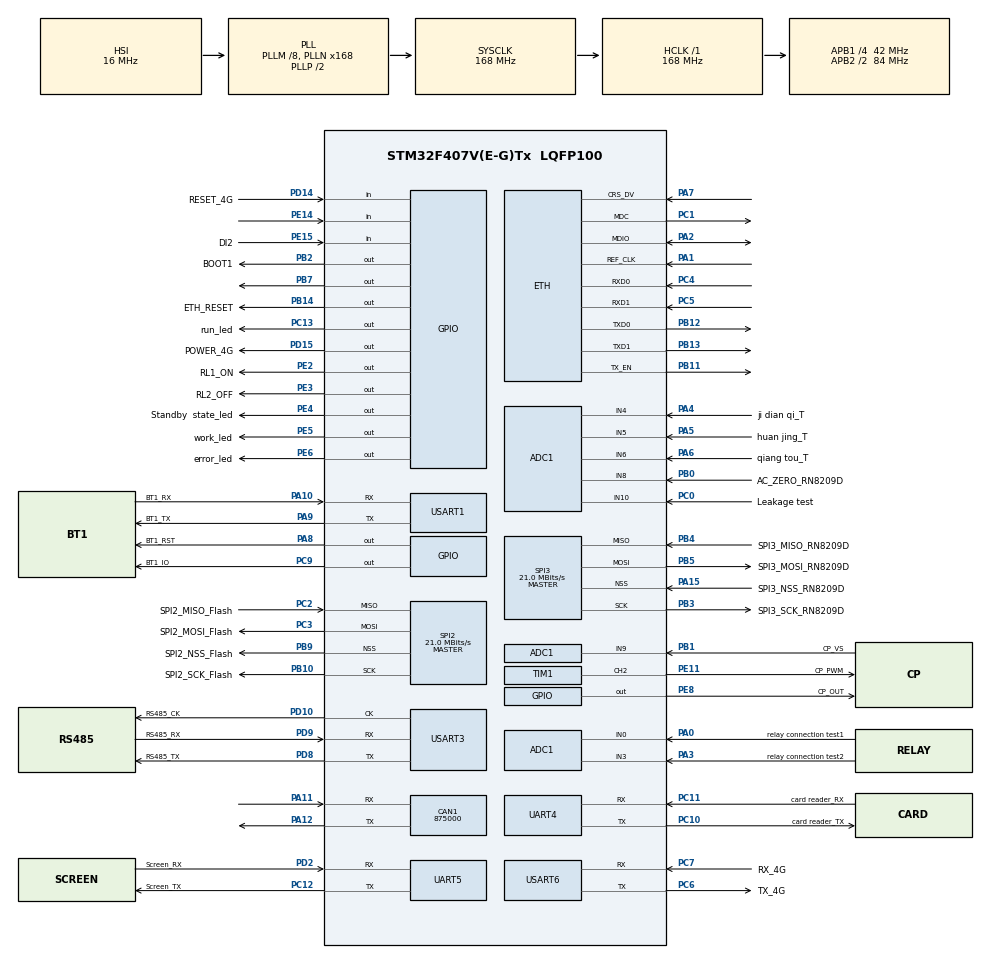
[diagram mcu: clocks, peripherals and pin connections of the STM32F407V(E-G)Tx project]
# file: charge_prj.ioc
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ADC1.Channel-26\#ChannelRegularConversion=ADC_CHANNEL_0
ADC1.Channel-31\#ChannelRegularConversion=ADC_CHANNEL_3
ADC1.Channel-32\#ChannelRegularConversion=ADC_CHANNEL_4
ADC1.Channel-33\#ChannelRegularConversion=ADC_CHANNEL_5
ADC1.Channel-34\#ChannelRegularConversion=ADC_CHANNEL_6
ADC1.Channel-35\#ChannelRegularConversion=ADC_CHANNEL_8
ADC1.Channel-36\#ChannelRegularConversion=ADC_CHANNEL_9
ADC1.Channel-37\#ChannelRegularConversion=ADC_CHANNEL_10
ADC1.ContinuousConvMode=ENABLE
ADC1.InjNumberOfConversion=0
ADC1.NbrOfConversion=8
ADC1.NbrOfConversionFlag=1
ADC1.Rank-26\#ChannelRegularConversion=1
ADC1.Rank-31\#ChannelRegularConversion=2
ADC1.Rank-32\#ChannelRegularConversion=3
ADC1.Rank-33\#ChannelRegularConversion=4
ADC1.Rank-34\#ChannelRegularConversion=5
ADC1.Rank-35\#ChannelRegularConversion=6
ADC1.Rank-36\#ChannelRegularConversion=7
ADC1.Rank-37\#ChannelRegularConversion=8
ADC1.SamplingTime-26\#ChannelRegularConversion=ADC_SAMPLETIME_3CYCLES
ADC1.SamplingTime-31\#ChannelRegularConversion=ADC_SAMPLETIME_3CYCLES
ADC1.SamplingTime-32\#ChannelRegularConversion=ADC_SAMPLETIME_3CYCLES
ADC1.SamplingTime-33\#ChannelRegularConversion=ADC_SAMPLETIME_3CYCLES
ADC1.SamplingTime-34\#ChannelRegularConversion=ADC_SAMPLETIME_3CYCLES
ADC1.SamplingTime-35\#ChannelRegularConversion=ADC_SAMPLETIME_3CYCLES
ADC1.SamplingTime-36\#ChannelRegularConversion=ADC_SAMPLETIME_3CYCLES
ADC1.SamplingTime-37\#ChannelRegularConversion=ADC_SAMPLETIME_3CYCLES
ADC1.ScanConvMode=ENABLE
ADC1.master=1
CAN1.CalculateBaudRate=875000
CAN1.CalculateTimeBit=1142
CAN1.CalculateTimeQuantum=380.95238095238096
Dma.ADC1.6.Direction=DMA_PERIPH_TO_MEMORY
Dma.ADC1.6.FIFOMode=DMA_FIFOMODE_DISABLE
Dma.ADC1.6.Instance=DMA2_Stream0
Dma.ADC1.6.MemDataAlignment=DMA_MDATAALIGN_HALFWORD
Dma.ADC1.6.MemInc=DMA_MINC_ENABLE
Dma.ADC1.6.Mode=DMA_NORMAL
Dma.ADC1.6.PeriphDataAlignment=DMA_PDATAALIGN_HALFWORD
Dma.ADC1.6.PeriphInc=DMA_PINC_DISABLE
Dma.ADC1.6.Priority=DMA_PRIORITY_LOW
Dma.Request0=UART4_TX
Dma.Request1=USART3_RX
Dma.Request2=USART3_TX
Dma.Request3=USART6_RX
Dma.Request4=USART6_TX
Dma.Request5=UART4_RX
Dma.Request6=ADC1
Dma.Request7=SPI3_TX
Dma.SPI3_TX.7.Direction=DMA_MEMORY_TO_PERIPH
Dma.SPI3_TX.7.FIFOMode=DMA_FIFOMODE_DISABLE
Dma.SPI3_TX.7.Instance=DMA1_Stream5
Dma.SPI3_TX.7.MemDataAlignment=DMA_MDATAALIGN_BYTE
Dma.SPI3_TX.7.MemInc=DMA_MINC_ENABLE
Dma.SPI3_TX.7.Mode=DMA_NORMAL
Dma.SPI3_TX.7.PeriphDataAlignment=DMA_PDATAALIGN_BYTE
Dma.SPI3_TX.7.PeriphInc=DMA_PINC_DISABLE
Dma.SPI3_TX.7.Priority=DMA_PRIORITY_LOW
Dma.UART4_RX.5.Direction=DMA_PERIPH_TO_MEMORY
Dma.UART4_RX.5.FIFOMode=DMA_FIFOMODE_DISABLE
Dma.UART4_RX.5.Instance=DMA1_Stream2
Dma.UART4_RX.5.MemDataAlignment=DMA_MDATAALIGN_BYTE
Dma.UART4_RX.5.MemInc=DMA_MINC_ENABLE
Dma.UART4_RX.5.Mode=DMA_NORMAL
Dma.UART4_RX.5.PeriphDataAlignment=DMA_PDATAALIGN_BYTE
Dma.UART4_RX.5.PeriphInc=DMA_PINC_DISABLE
Dma.UART4_RX.5.Priority=DMA_PRIORITY_LOW
Dma.UART4_TX.0.Direction=DMA_MEMORY_TO_PERIPH
Dma.UART4_TX.0.FIFOMode=DMA_FIFOMODE_DISABLE
Dma.UART4_TX.0.Instance=DMA1_Stream4
Dma.UART4_TX.0.MemDataAlignment=DMA_MDATAALIGN_BYTE
Dma.UART4_TX.0.MemInc=DMA_MINC_ENABLE
Dma.UART4_TX.0.Mode=DMA_NORMAL
Dma.UART4_TX.0.PeriphDataAlignment=DMA_PDATAALIGN_BYTE
Dma.UART4_TX.0.PeriphInc=DMA_PINC_DISABLE
Dma.UART4_TX.0.Priority=DMA_PRIORITY_LOW
Dma.USART3_RX.1.Direction=DMA_PERIPH_TO_MEMORY
Dma.USART3_RX.1.FIFOMode=DMA_FIFOMODE_DISABLE
Dma.USART3_RX.1.Instance=DMA1_Stream1
Dma.USART3_RX.1.MemDataAlignment=DMA_MDATAALIGN_BYTE
Dma.USART3_RX.1.MemInc=DMA_MINC_ENABLE
Dma.USART3_RX.1.Mode=DMA_NORMAL
Dma.USART3_RX.1.PeriphDataAlignment=DMA_PDATAALIGN_BYTE
Dma.USART3_RX.1.PeriphInc=DMA_PINC_DISABLE
Dma.USART3_RX.1.Priority=DMA_PRIORITY_LOW
Dma.USART3_TX.2.Direction=DMA_MEMORY_TO_PERIPH
Dma.USART3_TX.2.FIFOMode=DMA_FIFOMODE_DISABLE
Dma.USART3_TX.2.Instance=DMA1_Stream3
Dma.USART3_TX.2.MemDataAlignment=DMA_MDATAALIGN_BYTE
Dma.USART3_TX.2.MemInc=DMA_MINC_ENABLE
Dma.USART3_TX.2.Mode=DMA_NORMAL
Dma.USART3_TX.2.PeriphDataAlignment=DMA_PDATAALIGN_BYTE
Dma.USART3_TX.2.PeriphInc=DMA_PINC_DISABLE
Dma.USART3_TX.2.Priority=DMA_PRIORITY_LOW
Dma.USART6_RX.3.Direction=DMA_PERIPH_TO_MEMORY
Dma.USART6_RX.3.FIFOMode=DMA_FIFOMODE_DISABLE
Dma.USART6_RX.3.Instance=DMA2_Stream1
Dma.USART6_RX.3.MemDataAlignment=DMA_MDATAALIGN_BYTE
Dma.USART6_RX.3.MemInc=DMA_MINC_ENABLE
Dma.USART6_RX.3.Mode=DMA_NORMAL
Dma.USART6_RX.3.PeriphDataAlignment=DMA_PDATAALIGN_BYTE
Dma.USART6_RX.3.PeriphInc=DMA_PINC_DISABLE
Dma.USART6_RX.3.Priority=DMA_PRIORITY_LOW
Dma.USART6_TX.4.Direction=DMA_MEMORY_TO_PERIPH
Dma.USART6_TX.4.FIFOMode=DMA_FIFOMODE_DISABLE
Dma.USART6_TX.4.Instance=DMA2_Stream6
Dma.USART6_TX.4.MemDataAlignment=DMA_MDATAALIGN_BYTE
Dma.USART6_TX.4.MemInc=DMA_MINC_ENABLE
Dma.USART6_TX.4.Mode=DMA_NORMAL
Dma.USART6_TX.4.PeriphDataAlignment=DMA_PDATAALIGN_BYTE
Dma.USART6_TX.4.PeriphInc=DMA_PINC_DISABLE
Dma.USART6_TX.4.Priority=DMA_PRIORITY_LOW
ETH.MediaInterface=HAL_ETH_RMII_MODE
ETH.PHY_Name_RMII=userPHY
FREERTOS.Tasks01=defaultTask,0,128,StartDefaultTask,Default,NULL,Dynamic,NULL,NULL
LWIP.BSP.number=1
LWIP.LWIP_HTTPD=1
LWIP.LWIP_TFTP=1
LWIP.Version=v2.1.2_Cube
LWIP0.BSP.STBoard=false
LWIP0.BSP.api=BSP_COMPONENT_DRIVER
LWIP0.BSP.component=LAN8742
LWIP0.BSP.instance=LAN8742
LWIP0.BSP.name=Driver_PHY
LWIP0.BSP.semaphore=S_LAN8742
LWIP0.BSP.solution=LAN8742
Mcu.Family=STM32F4
Mcu.Name=STM32F407V(E-G)Tx
Mcu.Package=LQFP100
NVIC.ADC_IRQn=true\:5\:0\:false\:false\:true\:true\:true\:true\:true
NVIC.CAN1_RX0_IRQn=true\:5\:0\:false\:false\:true\:true\:true\:true\:true
NVIC.CAN1_RX1_IRQn=true\:5\:0\:false\:false\:true\:true\:true\:true\:true
NVIC.CAN1_SCE_IRQn=true\:5\:0\:false\:false\:true\:true\:true\:true\:true
NVIC.CAN1_TX_IRQn=true\:5\:0\:false\:false\:true\:true\:true\:true\:true
NVIC.DMA1_Stream1_IRQn=true\:5\:0\:false\:false\:true\:true\:false\:true\:true
NVIC.DMA1_Stream2_IRQn=true\:5\:0\:false\:false\:true\:true\:false\:true\:true
NVIC.DMA1_Stream3_IRQn=true\:5\:0\:false\:false\:true\:true\:false\:true\:true
NVIC.DMA1_Stream4_IRQn=true\:5\:0\:false\:false\:true\:true\:false\:true\:true
NVIC.DMA1_Stream5_IRQn=true\:5\:0\:false\:false\:true\:true\:false\:true\:true
NVIC.DMA2_Stream0_IRQn=true\:5\:0\:false\:false\:true\:true\:false\:true\:true
NVIC.DMA2_Stream1_IRQn=true\:5\:0\:false\:false\:true\:true\:false\:true\:true
NVIC.DMA2_Stream6_IRQn=true\:5\:0\:false\:false\:true\:true\:false\:true\:true
NVIC.ETH_IRQn=true\:5\:0\:false\:false\:true\:true\:true\:true\:true
NVIC.ETH_WKUP_IRQn=true\:5\:0\:false\:false\:true\:true\:true\:true\:true
NVIC.PriorityGroup=NVIC_PRIORITYGROUP_4
NVIC.TIM1_CC_IRQn=true\:5\:0\:false\:false\:true\:true\:true\:true\:true
NVIC.TIM2_IRQn=true\:15\:0\:false\:false\:true\:false\:false\:true\:true
NVIC.TimeBase=TIM2_IRQn
NVIC.TimeBaseIP=TIM2
NVIC.WWDG_IRQn=true\:5\:0\:false\:false\:true\:true\:true\:true\:true
PA0-WKUP.GPIO_Label=relay connection test1
PA0-WKUP.Signal=ADCx_IN0
PA1.Mode=RMII
PA1.Signal=ETH_REF_CLK
PA10.GPIO_Label=BT1_RX
PA10.Mode=Asynchronous
PA10.Signal=USART1_RX
PA11.Mode=CAN_Activate
PA11.Signal=CAN1_RX
PA12.Mode=CAN_Activate
PA12.Signal=CAN1_TX
PA13.Mode=Serial_Wire
PA13.Signal=SYS_JTMS-SWDIO
PA14.Mode=Serial_Wire
PA14.Signal=SYS_JTCK-SWCLK
PA15.GPIO_Label=SPI3_NSS_RN8209D
PA15.Mode=NSS_Signal_Hard_Input
PA15.Signal=SPI3_NSS
PA2.Mode=RMII
PA2.Signal=ETH_MDIO
PA3.GPIO_Label=relay connection test2
PA3.Signal=ADCx_IN3
PA4.GPIO_Label=ji dian qi_T
PA4.Signal=ADCx_IN4
PA5.GPIO_Label=huan jing_T
PA5.Signal=ADCx_IN5
PA6.GPIO_Label=qiang tou_T
PA6.Signal=ADCx_IN6
PA7.Mode=RMII
PA7.Signal=ETH_CRS_DV
PA8.GPIO_Label=BT1_RST
PA8.Signal=GPIO_Output
PA9.GPIO_Label=BT1_TX
PA9.Mode=Asynchronous
PA9.Signal=USART1_TX
PB0.GPIO_Label=AC_ZERO_RN8209D
PB0.Signal=ADCx_IN8
PB1.GPIO_Label=CP_VS
PB1.Signal=ADCx_IN9
PB10.GPIO_Label=SPI2_SCK_Flash
PB10.Mode=Full_Duplex_Master
PB10.Signal=SPI2_SCK
PB11.Mode=RMII
PB11.Signal=ETH_TX_EN
PB12.Mode=RMII
PB12.Signal=ETH_TXD0
PB13.Mode=RMII
PB13.Signal=ETH_TXD1
PB14.GPIO_Label=ETH_RESET
PB14.Signal=GPIO_Output
PB2.GPIO_Label=BOOT1
PB2.Signal=GPIO_Output
PB3.GPIO_Label=SPI3_SCK_RN8209D
PB3.Mode=Full_Duplex_Master
PB3.Signal=SPI3_SCK
PB4.GPIO_Label=SPI3_MISO_RN8209D
PB4.Mode=Full_Duplex_Master
PB4.Signal=SPI3_MISO
PB5.GPIO_Label=SPI3_MOSI_RN8209D
PB5.Mode=Full_Duplex_Master
PB5.Signal=SPI3_MOSI
PB7.Signal=GPIO_Output
PB9.GPIO_Label=SPI2_NSS_Flash
PB9.Mode=NSS_Signal_Hard_Output
PB9.Signal=SPI2_NSS
PC0.GPIO_Label=Leakage test
PC0.Signal=ADCx_IN10
PC1.Mode=RMII
PC1.Signal=ETH_MDC
PC10.GPIO_Label=card reader_TX
PC10.Mode=Asynchronous
PC10.Signal=UART4_TX
PC11.GPIO_Label=card reader_RX
PC11.Mode=Asynchronous
PC11.Signal=UART4_RX
PC12.GPIO_Label=Screen_TX
PC12.Mode=Asynchronous
PC12.Signal=UART5_TX
PC13-ANTI_TAMP.GPIO_Label=run_led
PC13-ANTI_TAMP.Signal=GPIO_Output
PC14-OSC32_IN.Mode=LSE-External-Oscillator
PC14-OSC32_IN.Signal=RCC_OSC32_IN
PC15-OSC32_OUT.Mode=LSE-External-Oscillator
PC15-OSC32_OUT.Signal=RCC_OSC32_OUT
PC2.GPIO_Label=SPI2_MISO_Flash
PC2.Mode=Full_Duplex_Master
PC2.Signal=SPI2_MISO
PC3.GPIO_Label=SPI2_MOSI_Flash
PC3.Mode=Full_Duplex_Master
PC3.Signal=SPI2_MOSI
PC4.Mode=RMII
PC4.Signal=ETH_RXD0
PC5.Mode=RMII
PC5.Signal=ETH_RXD1
PC6.GPIO_Label=TX_4G
PC6.Mode=Asynchronous
PC6.Signal=USART6_TX
PC7.GPIO_Label=RX_4G
PC7.Mode=Asynchronous
PC7.Signal=USART6_RX
PC9.GPIO_Label=BT1_IO
PC9.Signal=GPIO_Output
PD10.GPIO_Label=RS485_CK
PD10.Mode=Synchronous
PD10.Signal=USART3_CK
PD14.GPIO_Label=RESET_4G
PD14.Signal=GPIO_Input
PD15.GPIO_Label=POWER_4G
PD15.Signal=GPIO_Output
PD2.GPIO_Label=Screen_RX
PD2.Mode=Asynchronous
PD2.Signal=UART5_RX
PD8.GPIO_Label=RS485_TX
PD8.Mode=Synchronous
PD8.Signal=USART3_TX
PD9.GPIO_Label=RS485_RX
PD9.Mode=Synchronous
PD9.Signal=USART3_RX
PE11.GPIO_Label=CP_PWM
PE11.Signal=S_TIM1_CH2
PE14.Signal=GPIO_Input
PE15.GPIO_Label=DI2
PE15.Signal=GPIO_Input
PE2.GPIO_Label=RL1_ON
PE2.Signal=GPIO_Output
PE3.GPIO_Label=RL2_OFF
PE3.Signal=GPIO_Output
PE4.GPIO_Label=Standby  state_led
PE4.Signal=GPIO_Output
PE5.GPIO_Label=work_led
PE5.Signal=GPIO_Output
PE6.GPIO_Label=error_led
PE6.Signal=GPIO_Output
PE8.GPIO_Label=CP_OUT
PE8.Signal=GPIO_Output
PH0-OSC_IN.Mode=HSE-External-Oscillator
PH0-OSC_IN.Signal=RCC_OSC_IN
PH1-OSC_OUT.Mode=HSE-External-Oscillator
PH1-OSC_OUT.Signal=RCC_OSC_OUT
ProjectManager.HeapSize=0x200
ProjectManager.StackSize=0x400
ProjectManager.TargetToolchain=MDK-ARM V5
RCC.48MHZClocksFreq_Value=84000000
RCC.AHBFreq_Value=168000000
RCC.APB1CLKDivider=RCC_HCLK_DIV4
RCC.APB1Freq_Value=42000000
RCC.APB1TimFreq_Value=84000000
RCC.APB2CLKDivider=RCC_HCLK_DIV2
RCC.APB2Freq_Value=84000000
RCC.APB2TimFreq_Value=168000000
RCC.CortexFreq_Value=168000000
RCC.HCLKFreq_Value=168000000
RCC.HSE_VALUE=25000000
RCC.HSI_VALUE=16000000
RCC.PLLM=8
RCC.PLLN=168
RCC.SYSCLKFreq_VALUE=168000000
RCC.SYSCLKSource=RCC_SYSCLKSOURCE_PLLCLK
RCC.VCOOutputFreq_Value=336000000
SH.ADCx_IN0.0=ADC1_IN0,IN0
SH.ADCx_IN10.0=ADC1_IN10,IN10
SH.ADCx_IN3.0=ADC1_IN3,IN3
SH.ADCx_IN4.0=ADC1_IN4,IN4
SH.ADCx_IN5.0=ADC1_IN5,IN5
SH.ADCx_IN6.0=ADC1_IN6,IN6
SH.ADCx_IN8.0=ADC1_IN8,IN8
SH.ADCx_IN9.0=ADC1_IN9,IN9
SH.S_TIM1_CH2.0=TIM1_CH2
SH.S_TIM1_CH2.1=TIM1_CH2,PWM Generation2 CH2
SPI2.CalculateBaudRate=21.0 MBits/s
SPI2.Direction=SPI_DIRECTION_2LINES
SPI2.Mode=SPI_MODE_MASTER
SPI2.VirtualNSS=VM_NSSHARD
SPI2.VirtualType=VM_MASTER
SPI3.CalculateBaudRate=21.0 MBits/s
SPI3.Direction=SPI_DIRECTION_2LINES
SPI3.Mode=SPI_MODE_MASTER
SPI3.VirtualNSS=VM_NSSHARD
SPI3.VirtualType=VM_MASTER
TIM1.Channel-PWM\ Generation2\ CH2=TIM_CHANNEL_2
TIM1.Prescaler=84
UART4.VirtualMode=Asynchronous
UART5.VirtualMode=Asynchronous
USART1.VirtualMode=VM_ASYNC
USART3.VirtualMode=VM_SYNC
USART6.VirtualMode=VM_ASYNC
VP_FREERTOS_VS_CMSIS_V1.Mode=CMSIS_V1
VP_IWDG_VS_IWDG.Mode=IWDG_Activate
VP_LWIP_VS_Enabled.Mode=Enabled
VP_RTC_VS_RTC_Activate.Mode=RTC_Enabled
VP_SYS_VS_tim2.Mode=TIM2
VP_WWDG_VS_WWDG.Mode=WWDG_Activate
board=custom

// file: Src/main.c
/* USER CODE BEGIN Header */
/**
  ******************************************************************************
  * @file           : main.c
  * @brief          : Main program body
  ******************************************************************************
  * @attention
  *
  * Copyright (c) 2022 STMicroelectronics.
  * All rights reserved.
  *
  * This software is licensed under terms that can be found in the LICENSE file
  * in the root directory of this software component.
  * If no LICENSE file comes with this software, it is provided AS-IS.
  *
  ******************************************************************************
  */
/* USER CODE END Header */
#include "main.h"
#include "cmsis_os.h"
#include "lwip.h"

/* USER CODE BEGIN Includes */

#include "bsp_driver_uart.h"
#include "drv_usart.h"
#include "bsp_Led_Function.h"
#include "BSP_WatchDog.h"
#include "Tsk_API_Test.h"
#include "Task_SpiFlash.h"
#include "BSP_Adc.h"
#include "BSP_Rtc.h"
#include "BSP_Pwm.h"

#include "Sys_Config.h"
#include "MsgQueue.h"
#include "Tsk_Measure.h"
#include "Task_SpiFlash.h"
#include "Tsk_Charge_Ctrl.h"
#include "eth_comm.h"
/* USER CODE END Includes */

ADC_HandleTypeDef hadc1;
DMA_HandleTypeDef hdma_adc1;

CAN_HandleTypeDef hcan1;

IWDG_HandleTypeDef hiwdg;

RTC_HandleTypeDef hrtc;

SPI_HandleTypeDef hspi2;
SPI_HandleTypeDef hspi3;
DMA_HandleTypeDef hdma_spi3_tx;

TIM_HandleTypeDef htim1;

UART_HandleTypeDef huart4;
UART_HandleTypeDef huart5;
UART_HandleTypeDef huart1;
USART_HandleTypeDef husart3;
UART_HandleTypeDef huart6;
DMA_HandleTypeDef hdma_uart4_tx;
DMA_HandleTypeDef hdma_uart4_rx;
DMA_HandleTypeDef hdma_usart3_rx;
DMA_HandleTypeDef hdma_usart3_tx;
DMA_HandleTypeDef hdma_usart6_rx;
DMA_HandleTypeDef hdma_usart6_tx;

WWDG_HandleTypeDef hwwdg;

osThreadId defaultTaskHandle;

void SystemClock_Config(void);
static void MX_GPIO_Init(void);
static void MX_DMA_Init(void);
static void MX_ADC1_Init(void);
static void MX_CAN1_Init(void);
static void MX_SPI2_Init(void);
static void MX_SPI3_Init(void);
static void MX_TIM1_Init(void);
static void MX_UART4_Init(void);
static void MX_UART5_Init(void);
static void MX_USART1_UART_Init(void);
static void MX_USART3_Init(void);
static void MX_USART6_UART_Init(void);
static void MX_WWDG_Init(void);
static void MX_IWDG_Init(void);
static void MX_RTC_Init(void);
void StartDefaultTask(void const * argument);

/* USER CODE BEGIN PFP */
//注意  Private function prototypes需要转到main.h文件中
/* USER CODE END PFP */

/* USER CODE BEGIN 0 */
/*

	健网科技 -- JWT

					*/

//系统必须的初始化
static void system_init(void)
{

//    BSP_GPIO_Init();//指示灯

//    BSP_Rtc_Config();       //RTC 初始化

//    USART_Init(COM3,STOP_1,P_EVEN,2400);

//    USART_Init(COM1,STOP_1,P_NONE,19200);

//    //USART_Init(COM2,STOP_1,P_NONE, 19200);

//    USART_Init(COM2,STOP_1,P_NONE, 115200);

//    USART_Init(COM4,STOP_1,P_NONE, 115200);

    MEM_Init_Record();      //记录初始化因为后面的程序需要根据参数进行任务的初始化
		//读取FLASH，获得全局的参数和记录。
    Sys_Config_Para_Load(); //参数初始化
		Set_Fee();
    //Measure_8209_test();
    //adc2_init();

    //MX_LWIP_Init();         //网络初始化
    //
    dbg_init();             //调试功能初始化

    MsgQueue_Init();        //任务间消息队列初始化

}

/******************************************************************************
* Function: static void StartThread(void const * argument)
* Parameter:* argument
* Return:   Void
* Description:
*
*
******************************************************************************/
uint32_t clkclk[4];
int adc[3] = {0};

/*  JWT  */

static void StartThread(void const * argument)
{
		//	osDelay(9000);

    system_init();  //系统必须的初始化
     #if 1
    SetupMeasureApp(osPriorityNormal,2);
    SetupSpiFlashApp(osPriorityNormal,4);//测试单板屏蔽
    SetupChargeCtrlApp(osPriorityNormal,5);//测试单板屏蔽
	  Setup_JWT_background_App(osPriorityNormal, 9);//8->9

    osThreadTerminate(osThreadGetId());
    #else
    //MX_ADC1_Init();         //ADC 初始化 CP信号采集
    //BSP_Pwm_Init();//pwm初始化
    BSP_Pwm_Out(50,0);
    while(1)
    {
        adc[0] = Get_CP_Sample(0);
        osDelay(100);
    }
    #endif
}

/* USER CODE END 0 */

int main(void)
{

  /* MCU Configuration--------------------------------------------------------*/

  /* Reset of all peripherals, Initializes the Flash interface and the Systick. */
  HAL_Init();

  /* Configure the system clock */
  SystemClock_Config();

  /* Initialize all configured peripherals */
  MX_GPIO_Init();
  MX_DMA_Init();
  MX_ADC1_Init();
  MX_CAN1_Init();
  MX_SPI2_Init();
  MX_SPI3_Init();
  MX_TIM1_Init();
  MX_UART4_Init();
  MX_UART5_Init();
  MX_USART1_UART_Init();
  MX_USART3_Init();
  MX_USART6_UART_Init();
//  MX_WWDG_Init();
//  MX_IWDG_Init();
  MX_RTC_Init();

  /* Create the thread(s) */
  /* definition and creation of defaultTask */
  osThreadDef(defaultTask, StartDefaultTask, osPriorityNormal, 0, 128);
  defaultTaskHandle = osThreadCreate(osThread(defaultTask), NULL);

  /* USER CODE BEGIN RTOS_THREADS */
  /* add threads, ... */
    osThreadDef(USER_Thread, StartThread, osPriorityNormal, 0, 4*configMINIMAL_STACK_SIZE);
    osThreadCreate(osThread(USER_Thread), NULL);
  /* USER CODE END RTOS_THREADS */

  /* Start scheduler */
  osKernelStart();

  /* We should never get here as control is now taken by the scheduler */
  /* Infinite loop */
  while (1)
  {

  }
}

void SystemClock_Config(void)
{
  RCC_OscInitTypeDef RCC_OscInitStruct = {0};
  RCC_ClkInitTypeDef RCC_ClkInitStruct = {0};

  /** Configure the main internal regulator output voltage
  */
  __HAL_RCC_PWR_CLK_ENABLE();
  __HAL_PWR_VOLTAGESCALING_CONFIG(PWR_REGULATOR_VOLTAGE_SCALE1);

  /** Initializes the RCC Oscillators according to the specified parameters
  * in the RCC_OscInitTypeDef structure.
  */
  RCC_OscInitStruct.OscillatorType = RCC_OSCILLATORTYPE_HSI|RCC_OSCILLATORTYPE_LSI;
  RCC_OscInitStruct.HSIState = RCC_HSI_ON;
  RCC_OscInitStruct.HSICalibrationValue = RCC_HSICALIBRATION_DEFAULT;
  RCC_OscInitStruct.LSIState = RCC_LSI_ON;
  RCC_OscInitStruct.PLL.PLLState = RCC_PLL_ON;
  RCC_OscInitStruct.PLL.PLLSource = RCC_PLLSOURCE_HSI;
  RCC_OscInitStruct.PLL.PLLM = 8;
  RCC_OscInitStruct.PLL.PLLN = 168;
  RCC_OscInitStruct.PLL.PLLP = RCC_PLLP_DIV2;
  RCC_OscInitStruct.PLL.PLLQ = 4;
  if (HAL_RCC_OscConfig(&RCC_OscInitStruct) != HAL_OK)
  {
    Error_Handler();
  }

  /** Initializes the CPU, AHB and APB buses clocks
  */
  RCC_ClkInitStruct.ClockType = RCC_CLOCKTYPE_HCLK|RCC_CLOCKTYPE_SYSCLK
                              |RCC_CLOCKTYPE_PCLK1|RCC_CLOCKTYPE_PCLK2;
  RCC_ClkInitStruct.SYSCLKSource = RCC_SYSCLKSOURCE_PLLCLK;
  RCC_ClkInitStruct.AHBCLKDivider = RCC_SYSCLK_DIV1;
  RCC_ClkInitStruct.APB1CLKDivider = RCC_HCLK_DIV4;
  RCC_ClkInitStruct.APB2CLKDivider = RCC_HCLK_DIV2;

  if (HAL_RCC_ClockConfig(&RCC_ClkInitStruct, FLASH_LATENCY_5) != HAL_OK)
  {
    Error_Handler();
  }
}

static void MX_ADC1_Init(void)
{

  ADC_ChannelConfTypeDef sConfig = {0};

  /** Configure the global features of the ADC (Clock, Resolution, Data Alignment and number of conversion)
  */
  hadc1.Instance = ADC1;
  hadc1.Init.ClockPrescaler = ADC_CLOCK_SYNC_PCLK_DIV4;
  hadc1.Init.Resolution = ADC_RESOLUTION_12B;
  hadc1.Init.ScanConvMode = ENABLE;
  hadc1.Init.ContinuousConvMode = ENABLE;
  hadc1.Init.DiscontinuousConvMode = DISABLE;
  hadc1.Init.ExternalTrigConvEdge = ADC_EXTERNALTRIGCONVEDGE_NONE;
  hadc1.Init.ExternalTrigConv = ADC_SOFTWARE_START;
  hadc1.Init.DataAlign = ADC_DATAALIGN_RIGHT;
  hadc1.Init.NbrOfConversion = 8;
  hadc1.Init.DMAContinuousRequests = DISABLE;
  hadc1.Init.EOCSelection = ADC_EOC_SINGLE_CONV;
  if (HAL_ADC_Init(&hadc1) != HAL_OK)
  {
    Error_Handler();
  }

  /** Configure for the selected ADC regular channel its corresponding rank in the sequencer and its sample time.
  */
  sConfig.Channel = ADC_CHANNEL_0;
  sConfig.Rank = 1;
  sConfig.SamplingTime = ADC_SAMPLETIME_3CYCLES;
  if (HAL_ADC_ConfigChannel(&hadc1, &sConfig) != HAL_OK)
  {
    Error_Handler();
  }

  /** Configure for the selected ADC regular channel its corresponding rank in the sequencer and its sample time.
  */
  sConfig.Channel = ADC_CHANNEL_3;
  sConfig.Rank = 2;
  if (HAL_ADC_ConfigChannel(&hadc1, &sConfig) != HAL_OK)
  {
    Error_Handler();
  }

  /** Configure for the selected ADC regular channel its corresponding rank in the sequencer and its sample time.
  */
  sConfig.Channel = ADC_CHANNEL_4;
  sConfig.Rank = 3;
  if (HAL_ADC_ConfigChannel(&hadc1, &sConfig) != HAL_OK)
  {
    Error_Handler();
  }

  /** Configure for the selected ADC regular channel its corresponding rank in the sequencer and its sample time.
  */
  sConfig.Channel = ADC_CHANNEL_5;
  sConfig.Rank = 4;
  if (HAL_ADC_ConfigChannel(&hadc1, &sConfig) != HAL_OK)
  {
    Error_Handler();
  }

  /** Configure for the selected ADC regular channel its corresponding rank in the sequencer and its sample time.
  */
  sConfig.Channel = ADC_CHANNEL_6;
  sConfig.Rank = 5;
  if (HAL_ADC_ConfigChannel(&hadc1, &sConfig) != HAL_OK)
  {
    Error_Handler();
  }

  /** Configure for the selected ADC regular channel its corresponding rank in the sequencer and its sample time.
  */
  sConfig.Channel = ADC_CHANNEL_8;
  sConfig.Rank = 6;
  if (HAL_ADC_ConfigChannel(&hadc1, &sConfig) != HAL_OK)
  {
    Error_Handler();
  }

  /** Configure for the selected ADC regular channel its corresponding rank in the sequencer and its sample time.
  */
  sConfig.Channel = ADC_CHANNEL_9;
  sConfig.Rank = 7;
  if (HAL_ADC_ConfigChannel(&hadc1, &sConfig) != HAL_OK)
  {
    Error_Handler();
  }

  /** Configure for the selected ADC regular channel its corresponding rank in the sequencer and its sample time.
  */
  sConfig.Channel = ADC_CHANNEL_10;
  sConfig.Rank = 8;
  if (HAL_ADC_ConfigChannel(&hadc1, &sConfig) != HAL_OK)
  {
    Error_Handler();
  }

}

static void MX_CAN1_Init(void)
{

  hcan1.Instance = CAN1;
  hcan1.Init.Prescaler = 16;
  hcan1.Init.Mode = CAN_MODE_NORMAL;
  hcan1.Init.SyncJumpWidth = CAN_SJW_1TQ;
  hcan1.Init.TimeSeg1 = CAN_BS1_1TQ;
  hcan1.Init.TimeSeg2 = CAN_BS2_1TQ;
  hcan1.Init.TimeTriggeredMode = DISABLE;
  hcan1.Init.AutoBusOff = DISABLE;
  hcan1.Init.AutoWakeUp = DISABLE;
  hcan1.Init.AutoRetransmission = DISABLE;
  hcan1.Init.ReceiveFifoLocked = DISABLE;
  hcan1.Init.TransmitFifoPriority = DISABLE;
  if (HAL_CAN_Init(&hcan1) != HAL_OK)
  {
    Error_Handler();
  }

}

static void MX_IWDG_Init(void)
{

  hiwdg.Instance = IWDG;
  hiwdg.Init.Prescaler = IWDG_PRESCALER_4;
  hiwdg.Init.Reload = 4095;
  if (HAL_IWDG_Init(&hiwdg) != HAL_OK)
  {
    Error_Handler();
  }

}

static void MX_RTC_Init(void)
{

  /** Initialize RTC Only
  */
  hrtc.Instance = RTC;
  hrtc.Init.HourFormat = RTC_HOURFORMAT_24;
  hrtc.Init.AsynchPrediv = 127;
  hrtc.Init.SynchPrediv = 255;
  hrtc.Init.OutPut = RTC_OUTPUT_DISABLE;
  hrtc.Init.OutPutPolarity = RTC_OUTPUT_POLARITY_HIGH;
  hrtc.Init.OutPutType = RTC_OUTPUT_TYPE_OPENDRAIN;
  if (HAL_RTC_Init(&hrtc) != HAL_OK)
  {
    Error_Handler();
  }

}

static void MX_SPI2_Init(void)
{

  /* SPI2 parameter configuration*/
  hspi2.Instance = SPI2;
  hspi2.Init.Mode = SPI_MODE_MASTER;
  hspi2.Init.Direction = SPI_DIRECTION_2LINES;
  hspi2.Init.DataSize = SPI_DATASIZE_8BIT;
  hspi2.Init.CLKPolarity = SPI_POLARITY_LOW;
  hspi2.Init.CLKPhase = SPI_PHASE_1EDGE;
  hspi2.Init.NSS = SPI_NSS_HARD_OUTPUT;
  hspi2.Init.BaudRatePrescaler = SPI_BAUDRATEPRESCALER_2;
  hspi2.Init.FirstBit = SPI_FIRSTBIT_MSB;
  hspi2.Init.TIMode = SPI_TIMODE_DISABLE;
  hspi2.Init.CRCCalculation = SPI_CRCCALCULATION_DISABLE;
  hspi2.Init.CRCPolynomial = 10;
  if (HAL_SPI_Init(&hspi2) != HAL_OK)
  {
    Error_Handler();
  }

}

static void MX_SPI3_Init(void)
{

  /* SPI3 parameter configuration*/
  hspi3.Instance = SPI3;
  hspi3.Init.Mode = SPI_MODE_MASTER;
  hspi3.Init.Direction = SPI_DIRECTION_2LINES;
  hspi3.Init.DataSize = SPI_DATASIZE_8BIT;
  hspi3.Init.CLKPolarity = SPI_POLARITY_LOW;
  hspi3.Init.CLKPhase = SPI_PHASE_1EDGE;
  hspi3.Init.NSS = SPI_NSS_HARD_INPUT;
  hspi3.Init.BaudRatePrescaler = SPI_BAUDRATEPRESCALER_2;
  hspi3.Init.FirstBit = SPI_FIRSTBIT_MSB;
  hspi3.Init.TIMode = SPI_TIMODE_DISABLE;
  hspi3.Init.CRCCalculation = SPI_CRCCALCULATION_DISABLE;
  hspi3.Init.CRCPolynomial = 10;
  if (HAL_SPI_Init(&hspi3) != HAL_OK)
  {
    Error_Handler();
  }

}

static void MX_TIM1_Init(void)
{

  TIM_MasterConfigTypeDef sMasterConfig = {0};
  TIM_OC_InitTypeDef sConfigOC = {0};
  TIM_BreakDeadTimeConfigTypeDef sBreakDeadTimeConfig = {0};

  htim1.Instance = TIM1;
  htim1.Init.Prescaler = 84;
  htim1.Init.CounterMode = TIM_COUNTERMODE_UP;
  htim1.Init.Period = 65535;
  htim1.Init.ClockDivision = TIM_CLOCKDIVISION_DIV1;
  htim1.Init.RepetitionCounter = 0;
  htim1.Init.AutoReloadPreload = TIM_AUTORELOAD_PRELOAD_DISABLE;
  if (HAL_TIM_PWM_Init(&htim1) != HAL_OK)
  {
    Error_Handler();
  }
  sMasterConfig.MasterOutputTrigger = TIM_TRGO_RESET;
  sMasterConfig.MasterSlaveMode = TIM_MASTERSLAVEMODE_DISABLE;
  if (HAL_TIMEx_MasterConfigSynchronization(&htim1, &sMasterConfig) != HAL_OK)
  {
    Error_Handler();
  }
  sConfigOC.OCMode = TIM_OCMODE_PWM1;
  sConfigOC.Pulse = 0;
  sConfigOC.OCPolarity = TIM_OCPOLARITY_HIGH;
  sConfigOC.OCNPolarity = TIM_OCNPOLARITY_HIGH;
  sConfigOC.OCFastMode = TIM_OCFAST_DISABLE;
  sConfigOC.OCIdleState = TIM_OCIDLESTATE_RESET;
  sConfigOC.OCNIdleState = TIM_OCNIDLESTATE_RESET;
  if (HAL_TIM_PWM_ConfigChannel(&htim1, &sConfigOC, TIM_CHANNEL_2) != HAL_OK)
  {
    Error_Handler();
  }
  sBreakDeadTimeConfig.OffStateRunMode = TIM_OSSR_DISABLE;
  sBreakDeadTimeConfig.OffStateIDLEMode = TIM_OSSI_DISABLE;
  sBreakDeadTimeConfig.LockLevel = TIM_LOCKLEVEL_OFF;
  sBreakDeadTimeConfig.DeadTime = 0;
  sBreakDeadTimeConfig.BreakState = TIM_BREAK_DISABLE;
  sBreakDeadTimeConfig.BreakPolarity = TIM_BREAKPOLARITY_HIGH;
  sBreakDeadTimeConfig.AutomaticOutput = TIM_AUTOMATICOUTPUT_DISABLE;
  if (HAL_TIMEx_ConfigBreakDeadTime(&htim1, &sBreakDeadTimeConfig) != HAL_OK)
  {
    Error_Handler();
  }
  HAL_TIM_MspPostInit(&htim1);

}

static void MX_UART4_Init(void)
{

  huart4.Instance = UART4;
  huart4.Init.BaudRate = 115200;
  huart4.Init.WordLength = UART_WORDLENGTH_8B;
  huart4.Init.StopBits = UART_STOPBITS_1;
  huart4.Init.Parity = UART_PARITY_NONE;
  huart4.Init.Mode = UART_MODE_TX_RX;
  huart4.Init.HwFlowCtl = UART_HWCONTROL_NONE;
  huart4.Init.OverSampling = UART_OVERSAMPLING_16;
  if (HAL_UART_Init(&huart4) != HAL_OK)
  {
    Error_Handler();
  }

}

static void MX_UART5_Init(void)
{

  huart5.Instance = UART5;
  huart5.Init.BaudRate = 115200;
  huart5.Init.WordLength = UART_WORDLENGTH_8B;
  huart5.Init.StopBits = UART_STOPBITS_1;
  huart5.Init.Parity = UART_PARITY_NONE;
  huart5.Init.Mode = UART_MODE_TX_RX;
  huart5.Init.HwFlowCtl = UART_HWCONTROL_NONE;
  huart5.Init.OverSampling = UART_OVERSAMPLING_16;
  if (HAL_UART_Init(&huart5) != HAL_OK)
  {
    Error_Handler();
  }

}

static void MX_USART1_UART_Init(void)
{

  huart1.Instance = USART1;
  huart1.Init.BaudRate = 115200;
  huart1.Init.WordLength = UART_WORDLENGTH_8B;
  huart1.Init.StopBits = UART_STOPBITS_1;
  huart1.Init.Parity = UART_PARITY_NONE;
  huart1.Init.Mode = UART_MODE_TX_RX;
  huart1.Init.HwFlowCtl = UART_HWCONTROL_NONE;
  huart1.Init.OverSampling = UART_OVERSAMPLING_16;
  if (HAL_UART_Init(&huart1) != HAL_OK)
  {
    Error_Handler();
  }

}

static void MX_USART3_Init(void)
{

  husart3.Instance = USART3;
  husart3.Init.BaudRate = 115200;
  husart3.Init.WordLength = USART_WORDLENGTH_8B;
  husart3.Init.StopBits = USART_STOPBITS_1;
  husart3.Init.Parity = USART_PARITY_NONE;
  husart3.Init.Mode = USART_MODE_TX_RX;
  husart3.Init.CLKPolarity = USART_POLARITY_LOW;
  husart3.Init.CLKPhase = USART_PHASE_1EDGE;
  husart3.Init.CLKLastBit = USART_LASTBIT_DISABLE;
  if (HAL_USART_Init(&husart3) != HAL_OK)
  {
    Error_Handler();
  }

}

static void MX_USART6_UART_Init(void)
{

  huart6.Instance = USART6;
  huart6.Init.BaudRate = 115200;
  huart6.Init.WordLength = UART_WORDLENGTH_8B;
  huart6.Init.StopBits = UART_STOPBITS_1;
  huart6.Init.Parity = UART_PARITY_NONE;
  huart6.Init.Mode = UART_MODE_TX_RX;
  huart6.Init.HwFlowCtl = UART_HWCONTROL_NONE;
  huart6.Init.OverSampling = UART_OVERSAMPLING_16;
  if (HAL_UART_Init(&huart6) != HAL_OK)
  {
    Error_Handler();
  }

}

static void MX_WWDG_Init(void)
{

  hwwdg.Instance = WWDG;
  hwwdg.Init.Prescaler = WWDG_PRESCALER_1;
  hwwdg.Init.Window = 64;
  hwwdg.Init.Counter = 64;
  hwwdg.Init.EWIMode = WWDG_EWI_DISABLE;
  if (HAL_WWDG_Init(&hwwdg) != HAL_OK)
  {
    Error_Handler();
  }

}

static void MX_DMA_Init(void)
{

  /* DMA controller clock enable */
  __HAL_RCC_DMA1_CLK_ENABLE();
  __HAL_RCC_DMA2_CLK_ENABLE();

  /* DMA interrupt init */
  /* DMA1_Stream1_IRQn interrupt configuration */
  HAL_NVIC_SetPriority(DMA1_Stream1_IRQn, 5, 0);
  HAL_NVIC_EnableIRQ(DMA1_Stream1_IRQn);
  /* DMA1_Stream2_IRQn interrupt configuration */
  HAL_NVIC_SetPriority(DMA1_Stream2_IRQn, 5, 0);
  HAL_NVIC_EnableIRQ(DMA1_Stream2_IRQn);
  /* DMA1_Stream3_IRQn interrupt configuration */
  HAL_NVIC_SetPriority(DMA1_Stream3_IRQn, 5, 0);
  HAL_NVIC_EnableIRQ(DMA1_Stream3_IRQn);
  /* DMA1_Stream4_IRQn interrupt configuration */
  HAL_NVIC_SetPriority(DMA1_Stream4_IRQn, 5, 0);
  HAL_NVIC_EnableIRQ(DMA1_Stream4_IRQn);
  /* DMA1_Stream5_IRQn interrupt configuration */
  HAL_NVIC_SetPriority(DMA1_Stream5_IRQn, 5, 0);
  HAL_NVIC_EnableIRQ(DMA1_Stream5_IRQn);
  /* DMA2_Stream0_IRQn interrupt configuration */
  HAL_NVIC_SetPriority(DMA2_Stream0_IRQn, 5, 0);
  HAL_NVIC_EnableIRQ(DMA2_Stream0_IRQn);
  /* DMA2_Stream1_IRQn interrupt configuration */
  HAL_NVIC_SetPriority(DMA2_Stream1_IRQn, 5, 0);
  HAL_NVIC_EnableIRQ(DMA2_Stream1_IRQn);
  /* DMA2_Stream6_IRQn interrupt configuration */
  HAL_NVIC_SetPriority(DMA2_Stream6_IRQn, 5, 0);
  HAL_NVIC_EnableIRQ(DMA2_Stream6_IRQn);

}

static void MX_GPIO_Init(void)
{
  GPIO_InitTypeDef GPIO_InitStruct = {0};

  /* GPIO Ports Clock Enable */
  __HAL_RCC_GPIOE_CLK_ENABLE();
  __HAL_RCC_GPIOC_CLK_ENABLE();
  __HAL_RCC_GPIOH_CLK_ENABLE();
  __HAL_RCC_GPIOA_CLK_ENABLE();
  __HAL_RCC_GPIOB_CLK_ENABLE();
  __HAL_RCC_GPIOD_CLK_ENABLE();

  /*Configure GPIO pin Output Level */
  HAL_GPIO_WritePin(GPIOE, RL1_ON_Pin|RL2_OFF_Pin|Standby_state_led_Pin|work_led_Pin
                          |error_led_Pin|CP_OUT_Pin, GPIO_PIN_RESET);

  /*Configure GPIO pin Output Level */
  HAL_GPIO_WritePin(GPIOC, run_led_Pin|BT1_IO_Pin, GPIO_PIN_RESET);

  /*Configure GPIO pin Output Level */
  HAL_GPIO_WritePin(GPIOB, BOOT1_Pin|ETH_RESET_Pin|GPIO_PIN_7, GPIO_PIN_RESET);

  /*Configure GPIO pin Output Level */
  HAL_GPIO_WritePin(POWER_4G_GPIO_Port, POWER_4G_Pin, GPIO_PIN_RESET);

  /*Configure GPIO pin Output Level */
  HAL_GPIO_WritePin(BT1_RST_GPIO_Port, BT1_RST_Pin, GPIO_PIN_RESET);

  /*Configure GPIO pins : RL1_ON_Pin RL2_OFF_Pin Standby_state_led_Pin work_led_Pin
                           error_led_Pin CP_OUT_Pin */
  GPIO_InitStruct.Pin = RL1_ON_Pin|RL2_OFF_Pin|Standby_state_led_Pin|work_led_Pin
                          |error_led_Pin|CP_OUT_Pin;
  GPIO_InitStruct.Mode = GPIO_MODE_OUTPUT_PP;
  GPIO_InitStruct.Pull = GPIO_NOPULL;
  GPIO_InitStruct.Speed = GPIO_SPEED_FREQ_LOW;
  HAL_GPIO_Init(GPIOE, &GPIO_InitStruct);

  /*Configure GPIO pins : run_led_Pin BT1_IO_Pin */
  GPIO_InitStruct.Pin = run_led_Pin|BT1_IO_Pin;
  GPIO_InitStruct.Mode = GPIO_MODE_OUTPUT_PP;
  GPIO_InitStruct.Pull = GPIO_NOPULL;
  GPIO_InitStruct.Speed = GPIO_SPEED_FREQ_LOW;
  HAL_GPIO_Init(GPIOC, &GPIO_InitStruct);

  /*Configure GPIO pins : BOOT1_Pin ETH_RESET_Pin PB7 */
  GPIO_InitStruct.Pin = BOOT1_Pin|ETH_RESET_Pin|GPIO_PIN_7;
  GPIO_InitStruct.Mode = GPIO_MODE_OUTPUT_PP;
  GPIO_InitStruct.Pull = GPIO_NOPULL;
  GPIO_InitStruct.Speed = GPIO_SPEED_FREQ_LOW;
  HAL_GPIO_Init(GPIOB, &GPIO_InitStruct);

  /*Configure GPIO pins : PE14 DI2_Pin */
  GPIO_InitStruct.Pin = GPIO_PIN_14|DI2_Pin;
  GPIO_InitStruct.Mode = GPIO_MODE_INPUT;
  GPIO_InitStruct.Pull = GPIO_NOPULL;
  HAL_GPIO_Init(GPIOE, &GPIO_InitStruct);

  /*Configure GPIO pin : RESET_4G_Pin */
  GPIO_InitStruct.Pin = RESET_4G_Pin;
  GPIO_InitStruct.Mode = GPIO_MODE_INPUT;
  GPIO_InitStruct.Pull = GPIO_NOPULL;
  HAL_GPIO_Init(RESET_4G_GPIO_Port, &GPIO_InitStruct);

  /*Configure GPIO pin : POWER_4G_Pin */
  GPIO_InitStruct.Pin = POWER_4G_Pin;
  GPIO_InitStruct.Mode = GPIO_MODE_OUTPUT_PP;
  GPIO_InitStruct.Pull = GPIO_NOPULL;
  GPIO_InitStruct.Speed = GPIO_SPEED_FREQ_LOW;
  HAL_GPIO_Init(POWER_4G_GPIO_Port, &GPIO_InitStruct);

  /*Configure GPIO pin : BT1_RST_Pin */
  GPIO_InitStruct.Pin = BT1_RST_Pin;
  GPIO_InitStruct.Mode = GPIO_MODE_OUTPUT_PP;
  GPIO_InitStruct.Pull = GPIO_NOPULL;
  GPIO_InitStruct.Speed = GPIO_SPEED_FREQ_LOW;
  HAL_GPIO_Init(BT1_RST_GPIO_Port, &GPIO_InitStruct);

}

/* USER CODE BEGIN 4 */

//所有AD采样数据的定义
//说明  序号 0..7
//0 = 继电器粘连测试端口1
//1 = 继电器粘连测试端口2
//2 = 继电器温度
//3=环境温度
//4=枪头温度
//5 = 计量芯片过零检测
//6= CP-VS
//7= 漏电检测端口
uint16_t g_ADVal[8];//对应的AD采样值

uint32_t g_DAM_BufADVal[8];//DMA导入的AD采样值
void AD_DAM_Start()
{
	HAL_ADC_Start_DMA(&hadc1,(uint32_t *)FiltAdcBuf,FILT_NUM*CH_NUM);
}

//收到AD的数据后进行相应的数据转换工作
void HAL_ADC_ConvCpltCallback(ADC_HandleTypeDef* hadc)
{
	int i;
	uint16_t Cvt_Data;
	uint32_t Cvt_TempData;
	if(hadc == &hadc1)
	{
//		for(i=0;i<8;i++)
//		{
//			Cvt_TempData = g_DAM_BufADVal[i];
//			Cvt_TempData = Cvt_TempData&0x007f;//只要后12位
//			Cvt_Data = Cvt_TempData;
//			g_ADVal[i] = Cvt_Data;//保存到相应的AD值中。
//		}
		AD_DAM_Start();//重新开始DMA
	}
}

//计量芯片RN8209D SPI3的处理  SPI3
uint8_t RN8209D_RXData[20];//RN8209D 接收数据的buf
uint8_t RN8209D_TXData[20];//RN8209D 发送数据的buf
int RN8209D_Recv_Len;
/*
计量芯片的数据帧构成
*/
uint8_t *RN8209D_DataFrame(uint8_t *pRxData,int size,int *SendSize)
{
	(*SendSize) =  10;//需要发送的数据长度
	return RN8209D_TXData;
}
/*
对接收到的计量芯片的数据进行解析，判断当前的状态和值
*/
void RN8209D_DataUpdate(uint8_t *pRxData,int Size)
{

}

void RN8209D_SendData(uint8_t *pTxData, uint16_t Size)
{
	HAL_SPI_Transmit_DMA(&hspi3,pTxData,Size);
}

void RN8209D_RecvData(uint8_t *pRxData, uint16_t Size)
{
	HAL_SPI_Receive_IT(&hspi3,pRxData,Size);
}

//FLASH芯片 SPI2的处理  SPI2
uint8_t FLASH_RXData[20];//FLASH 接收数据的buf
uint8_t FLASH_TXData[20];//FLASH发送数据的buf
int FLASH_Recv_Len;

int FLASH_Status=0;
/*
flash芯片的数据帧构成
*/
uint8_t *FLASH_DataFrame(uint8_t *pRxData,int size,int *SendSize)
{
	(*SendSize) =  10;//需要发送的数据长度
	return FLASH_TXData;
}

/*
对接收到的FLASH芯片的数据进行解析，判断当前的状态和值
这里就是读取到的数据
*/
void FLASH_DataUpdate(uint8_t *pRxData,int CmdType,int Size)
{
	//有可能是返回的指令，也可能是FLASH的数据
	uint16_t device_id = 0;
	switch(CmdType)
	{
		case GET_ID:
			device_id = (pRxData[0]<<8) | pRxData[1];
			break;
		case WRITE_DATA:
			break;
		case READ_DATA:
			//pRxData
			break;
		case SECTOR_ERASE:
			break;
		case BULK_ERASE:
			break;
		case CHIP_ERASE:
			break;
		case ReStatusRegister:
			break;
		case WrStatusRegister:
			break;
	}
}

void FLASH_SendData(uint8_t *pTxData, uint16_t Size)
{
	HAL_SPI_Transmit_DMA(&hspi2,pTxData,Size);
}

uint8_t* FLASH_RecvData(uint16_t Size)
{
//	HAL_SPI_Receive_IT(&hspi2,pRxData,Size);
	HAL_SPI_Receive_IT(&hspi2,FLASH_RXData,Size);
	return FLASH_RXData;
}

//void FLASH_Init()
//{
//	uint8_t ldata[20];
//	memset(ldata,0,20);
//	ldata[0] = 0x00;
//	FLASH_SendData((uint8_t *)ldata,1);
//	HAL_Delay(1);//1ms
//
//}
///*
//这里是发送指令，将pData 中的长度为iDataLen的数据发送到FLASH中，以达到写FLASH的目的
//*/
//void FLASH_Write(uint32_t *pAddr,uint8_t *pData,int CmdType,int iDataLen)
//{
//	//FLASH_SendData((uint8_t *)ldata,1);
//	HAL_Delay(1);//1ms

//}

void HAL_SPI_RxCpltCallback(SPI_HandleTypeDef *hspi)
{
	if(hspi == &hspi3)//RN8209D
	{
		RN8209D_DataUpdate(RN8209D_RXData,RN8209D_Recv_Len);
	}
	if(hspi == &hspi2)//FLASH
	{
		FLASH_DataUpdate(FLASH_RXData,1,FLASH_Recv_Len);
	}
}

//急停中断  由于不采用中断模式，这里就可以暂时不用了。
void HAL_GPIO_EXTI_Callback(uint16_t GPIO_Pin)
{
//	if(GPIO_Pin == EM_STOP_Pin)
//	{
//		//提示进行急停操作
//	}
}
void usr_IWDG_Init()
{
	MX_IWDG_Init();
}
void usr_GPIO_Init()
{
	MX_GPIO_Init();
}
/* USER CODE END 4 */

void StartDefaultTask(void const * argument)
{
  /* init code for LWIP */
  MX_LWIP_Init();
  for(;;)
  {
    osDelay(1);
  }
}

void HAL_TIM_PeriodElapsedCallback(TIM_HandleTypeDef *htim)
{
  if (htim->Instance == TIM2) {
    HAL_IncTick();
  }
}

void Error_Handler(void)
{
  __disable_irq();
  while (1)
  {
  }
}
